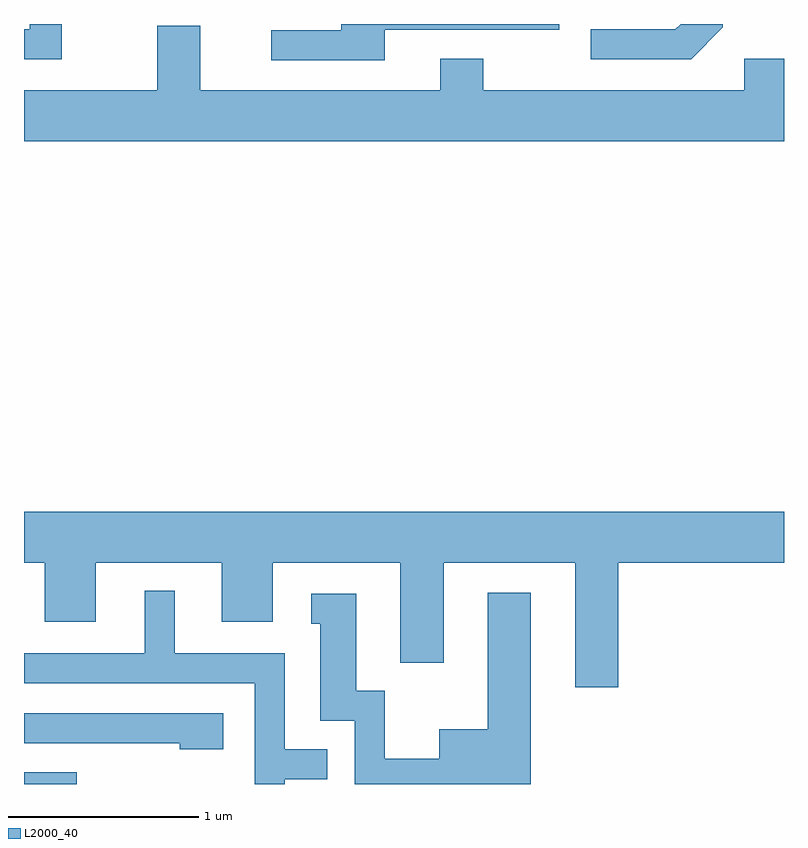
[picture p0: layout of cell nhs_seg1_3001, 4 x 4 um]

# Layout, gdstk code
import gdstk
lib = gdstk.Library(unit=1e-6, precision=1e-09)
def R(c, l, rs):  # rectangles x0, y0, x1, y1
    for r in rs: c.add(gdstk.rectangle(r[:2], r[2:], *l))
def P(c, l, *ps):  # polygons
    for p in ps: c.add(gdstk.Polygon(p, *l))
L2000_40 = (2000, 40)

nhs_seg1_3001 = lib.new_cell('nhs_seg1_3001')
R(nhs_seg1_3001, L2000_40, [(275.611,931.712,275.888,931.774)])
P(nhs_seg1_3001, L2000_40, [(277.509,935.681),(278.429,935.681),(278.429,935.712),(277.281,935.712),(277.281,935.679),(276.913,935.679),(276.913,935.521),(277.509,935.521)],
  [(279.289,935.694),(279.289,935.712),(279.067,935.712),(279.039,935.684),(278.593,935.684),(278.593,935.526),(279.122,935.526)],
  [(275.809,935.712),(275.641,935.712),(275.641,935.684),(275.611,935.684),(275.611,935.526),(275.809,935.526)],
  [(279.611,935.529),(279.401,935.529),(279.401,935.364),(278.029,935.364),(278.029,935.529),(277.801,935.529),(277.801,935.364),(276.539,935.364),(276.539,935.704),(276.311,935.704),(276.311,935.364),(275.611,935.364),(275.611,935.096),(279.611,935.096)],
  [(278.739,932.876),(279.611,932.876),(279.611,933.144),(275.611,933.144),(275.611,932.876),(275.721,932.876),(275.721,932.566),(275.989,932.566),(275.989,932.876),(276.651,932.876),(276.651,932.566),(276.919,932.566),(276.919,932.876),(277.591,932.876),(277.591,932.351),(277.819,932.351),(277.819,932.876),(278.511,932.876),(278.511,932.221),(278.739,932.221)],
  [(276.984,931.736),(277.208,931.736),(277.208,931.894),(276.984,931.894),(276.984,932.399),(276.404,932.399),(276.404,932.728),(276.246,932.728),(276.246,932.399),(275.611,932.399),(275.611,932.241),(276.826,932.241),(276.826,931.712),(276.984,931.712)],
  [(278.279,932.719),(278.051,932.719),(278.051,931.999),(277.796,931.999),(277.796,931.844),(277.509,931.844),(277.509,932.204),(277.359,932.204),(277.359,932.714),(277.123,932.714),(277.123,932.556),(277.171,932.556),(277.171,932.046),(277.351,932.046),(277.351,931.712),(278.279,931.712)],
  [(276.659,932.084),(275.611,932.084),(275.611,931.926),(276.431,931.926),(276.431,931.896),(276.659,931.896)])

lib.write_gds('nhs_seg1_3001.gds')
